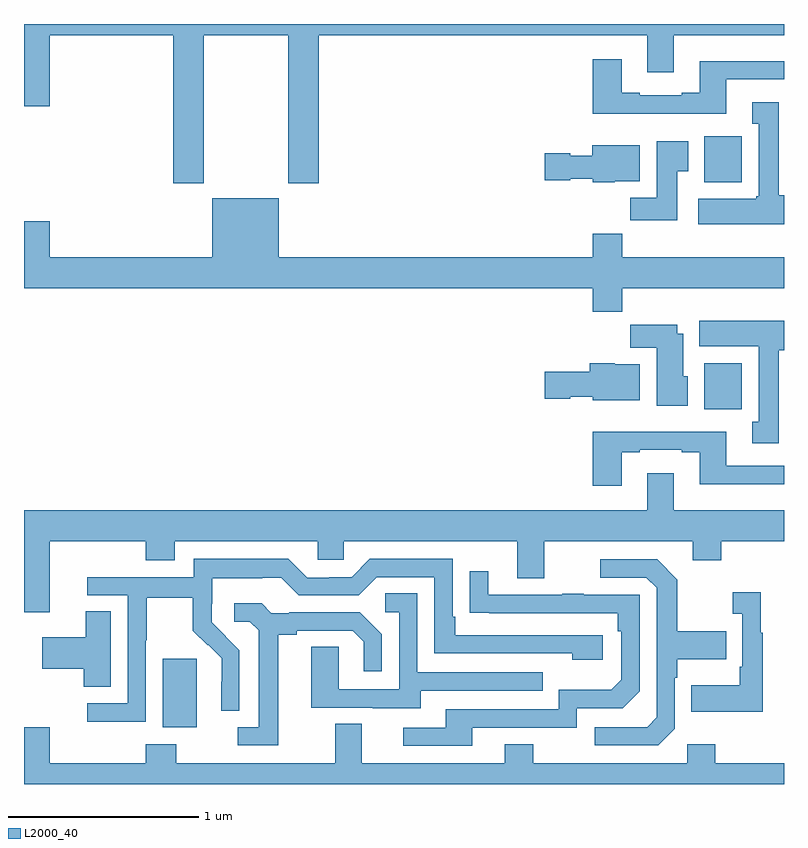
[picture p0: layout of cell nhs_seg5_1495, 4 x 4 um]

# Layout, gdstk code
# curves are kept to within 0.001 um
import gdstk
lib = gdstk.Library(unit=1e-6, precision=1e-09)
def R(c, l, rs):  # rectangles x0, y0, x1, y1
    for r in rs: c.add(gdstk.rectangle(r[:2], r[2:], *l))
def P(c, l, *ps):  # polygons
    for p in ps: c.add(gdstk.Polygon(p, *l))
L2000_40 = (2000, 40)

nhs_seg5_1495 = lib.new_cell('nhs_seg5_1495')
R(nhs_seg5_1495, L2000_40, [(201.731,873.098,201.91,873.459), (204.581,874.772,204.778,875.014), (204.581,875.966,204.778,876.208)])
P(nhs_seg5_1495, L2000_40, [(201.945,876.74),(202.39,876.74),(202.39,875.961),(202.55,875.961),(202.55,876.74),(204.281,876.74),(204.281,876.546),(204.421,876.546),(204.421,876.74),(205,876.74),(205,876.799),(201,876.799),(201,876.366),(201.136,876.366),(201.136,876.74),(201.785,876.74),(201.785,875.961),(201.945,875.961)],
  [(204.697,876.507),(205,876.507),(205,876.604),(204.557,876.604),(204.557,876.436),(204.461,876.436),(204.461,876.423),(204.241,876.423),(204.241,876.436),(204.145,876.436),(204.145,876.613),(203.993,876.613),(203.993,876.326),(204.697,876.326)],
  [(205,875.898),(204.973,875.898),(204.973,876.388),(204.833,876.388),(204.833,876.275),(204.866,876.275),(204.866,875.892),(204.853,875.892),(204.853,875.878),(204.549,875.878),(204.549,875.744),(205,875.744)],
  [(204.439,876.025),(204.496,876.025),(204.496,876.181),(204.329,876.181),(204.329,875.884),(204.19,875.884),(204.19,875.766),(204.439,875.766)],
  [(204.108,875.972),(204.241,875.972),(204.241,876.16),(203.99,876.16),(203.99,876.106),(203.874,876.106),(203.874,876.119),(203.742,876.119),(203.742,875.977),(203.874,875.977),(203.874,875.984),(203.994,875.984),(203.994,875.966),(204.108,875.966)],
  [(203.993,875.284),(204.149,875.284),(204.149,875.408),(205,875.408),(205,875.572),(204.149,875.572),(204.149,875.696),(203.993,875.696),(203.993,875.572),(202.342,875.572),(202.342,875.881),(201.992,875.881),(201.992,875.572),(201.136,875.572),(201.136,875.761),(201,875.761),(201,875.408),(203.993,875.408)],
  [(204.973,875.082),(205,875.082),(205,875.236),(204.554,875.236),(204.554,875.102),(204.866,875.102),(204.866,874.706),(204.833,874.706),(204.833,874.593),(204.973,874.593)],
  [(204.493,874.944),(204.469,874.944),(204.469,875.17),(204.439,875.17),(204.439,875.215),(204.19,875.215),(204.19,875.096),(204.329,875.096),(204.329,874.79),(204.493,874.79)],
  [(204.241,875.008),(204.108,875.008),(204.108,875.014),(203.978,875.014),(203.978,874.968),(203.742,874.968),(203.742,874.826),(203.874,874.826),(203.874,874.838),(203.994,874.838),(203.994,874.82),(204.241,874.82)],
  [(204.145,874.545),(204.241,874.545),(204.241,874.557),(204.461,874.557),(204.461,874.545),(204.557,874.545),(204.557,874.376),(205,874.376),(205,874.473),(204.697,874.473),(204.697,874.654),(203.993,874.654),(203.993,874.368),(204.145,874.368)],
  [(201.136,874.076),(201.641,874.076),(201.641,873.977),(201.793,873.977),(201.793,874.076),(202.545,874.076),(202.545,873.978),(202.683,873.978),(202.683,874.076),(203.597,874.076),(203.597,873.882),(203.737,873.882),(203.737,874.076),(204.521,874.076),(204.521,873.977),(204.669,873.977),(204.669,874.076),(205,874.076),(205,874.24),(204.421,874.24),(204.421,874.435),(204.281,874.435),(204.281,874.24),(201,874.24),(201,873.702),(201.136,873.702)],
  [(201.642,873.556),(201.645,873.556),(201.645,873.78),(201.889,873.78),(201.889,873.605),(201.966,873.528),(201.969,873.531),(202.04,873.461),(202.04,873.338),(202.038,873.338),(202.038,873.184),(202.134,873.184),(202.134,873.502),(201.988,873.65),(201.988,873.747),(201.99,873.747),(201.99,873.881),(202.253,873.881),(202.253,873.885),(202.353,873.885),(202.446,873.792),(202.761,873.792),(202.857,873.888),(203.16,873.888),(203.16,873.486),(203.885,873.486),(203.885,873.452),(204.046,873.452),(204.046,873.582),(203.269,873.582),(203.269,873.679),(203.256,873.679),(203.256,873.984),(202.821,873.984),(202.725,873.888),(202.607,873.888),(202.607,873.885),(202.491,873.885),(202.391,873.985),(201.894,873.985),(201.894,873.888),(201.333,873.888),(201.333,873.792),(201.546,873.792),(201.546,873.225),(201.333,873.225),(201.333,873.127),(201.642,873.127)],
  [(204.426,873.09),(204.426,873.359),(204.439,873.359),(204.439,873.455),(204.695,873.455),(204.695,873.603),(204.439,873.603),(204.439,873.875),(204.333,873.981),(204.033,873.981),(204.033,873.885),(204.276,873.885),(204.33,873.831),(204.33,873.15),(204.279,873.099),(204.003,873.099),(204.003,873.003),(204.339,873.003)],
  [(203.359,873.096),(203.91,873.096),(203.91,873.198),(204.15,873.198),(204.24,873.288),(204.24,873.795),(203.945,873.795),(203.945,873.8),(203.833,873.8),(203.833,873.795),(203.443,873.795),(203.443,873.919),(203.347,873.919),(203.347,873.7),(204.124,873.699),(204.124,873.602),(204.144,873.602),(204.144,873.348),(204.091,873.295),(203.814,873.295),(203.814,873.192),(203.219,873.192),(203.219,873.096),(202.995,873.096),(202.995,873),(203.359,873)],
  [(204.889,873.595),(204.877,873.595),(204.877,873.808),(204.729,873.808),(204.729,873.695),(204.78,873.695),(204.78,873.415),(204.768,873.415),(204.768,873.319),(204.511,873.319),(204.511,873.179),(204.889,873.179)],
  [(203.089,873.291),(203.729,873.291),(203.729,873.387),(203.07,873.387),(203.07,873.803),(202.902,873.803),(202.902,873.702),(202.974,873.702),(202.974,873.297),(202.656,873.297),(202.656,873.521),(202.511,873.521),(202.511,873.201),(202.835,873.201),(202.835,873.197),(203.089,873.197)],
  [(202.339,873.584),(202.435,873.584),(202.435,873.606),(202.73,873.606),(202.787,873.549),(202.787,873.393),(202.884,873.393),(202.884,873.586),(202.768,873.702),(202.396,873.702),(202.396,873.699),(202.302,873.699),(202.25,873.751),(202.107,873.751),(202.107,873.654),(202.188,873.654),(202.235,873.607),(202.235,873.099),(202.125,873.099),(202.125,873.003),(202.339,873.003)],
  [(201.457,873.707),(201.326,873.707),(201.326,873.571),(201.096,873.571),(201.096,873.406),(201.314,873.406),(201.314,873.31),(201.457,873.31)],
  [(205,872.908),(204.639,872.908),(204.639,873.007),(204.492,873.007),(204.492,872.908),(203.679,872.908),(203.679,873.007),(203.531,873.007),(203.531,872.908),(202.777,872.908),(202.777,873.116),(202.637,873.116),(202.637,872.908),(201.801,872.908),(201.801,873.007),(201.641,873.007),(201.641,872.908),(201.136,872.908),(201.136,873.097),(201,873.097),(201,872.799),(205,872.799)])

lib.write_gds('nhs_seg5_1495.gds')
